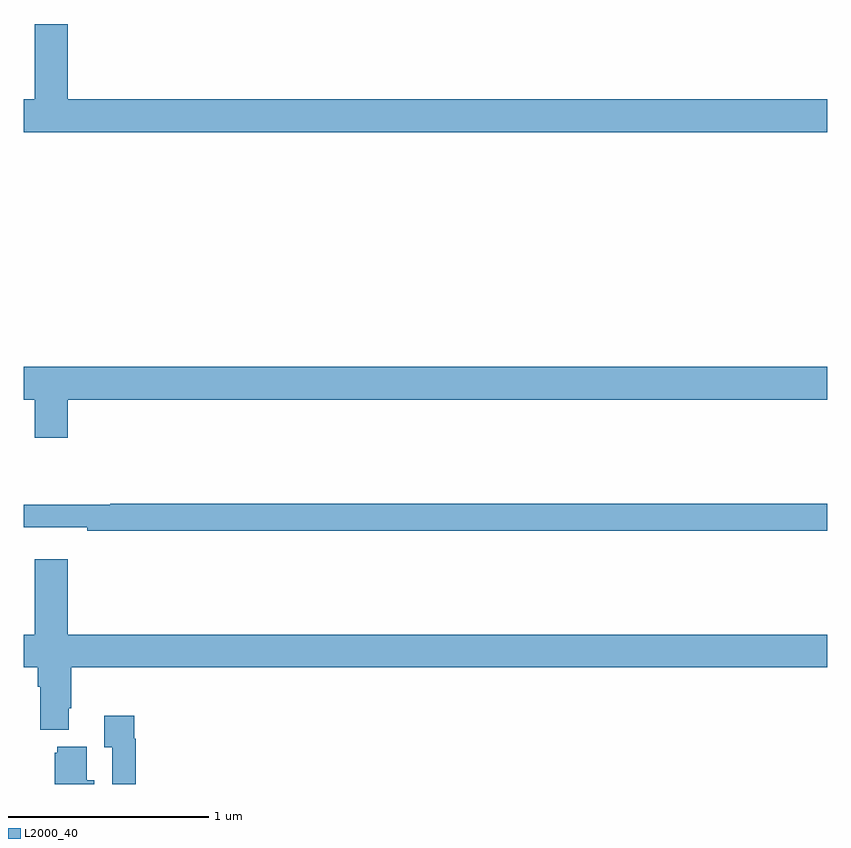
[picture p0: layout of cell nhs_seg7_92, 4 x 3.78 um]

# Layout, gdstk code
import gdstk
lib = gdstk.Library(unit=1e-6, precision=1e-09)
def P(c, l, *ps):  # polygons
    for p in ps: c.add(gdstk.Polygon(p, *l))
L2000_40 = (2000, 40)

nhs_seg7_92 = lib.new_cell('nhs_seg7_92')
P(nhs_seg7_92, L2000_40, [(121,1039.408),(117.22,1039.408),(117.22,1039.783),(117.056,1039.783),(117.056,1039.408),(117,1039.408),(117,1039.244),(121,1039.244)],
  [(117.22,1037.912),(121,1037.912),(121,1038.076),(117,1038.076),(117,1037.912),(117.056,1037.912),(117.056,1037.724),(117.22,1037.724)],
  [(121,1037.396),(117.431,1037.396),(117.431,1037.389),(117,1037.389),(117,1037.279),(117.316,1037.279),(117.316,1037.26),(121,1037.26)],
  [(117.223,1036.378),(117.236,1036.378),(117.236,1036.58),(121,1036.58),(121,1036.744),(117.22,1036.744),(117.22,1037.119),(117.056,1037.119),(117.056,1036.744),(117,1036.744),(117,1036.58),(117.071,1036.58),(117.071,1036.484),(117.083,1036.484),(117.083,1036.271),(117.223,1036.271)],
  [(117.557,1036.226),(117.55,1036.226),(117.55,1036.339),(117.401,1036.339),(117.401,1036.183),(117.441,1036.183),(117.441,1036),(117.557,1036)],
  [(117.352,1036.018),(117.313,1036.018),(117.313,1036.186),(117.167,1036.186),(117.167,1036.155),(117.155,1036.155),(117.155,1036),(117.352,1036)])

lib.write_gds('nhs_seg7_92.gds')
